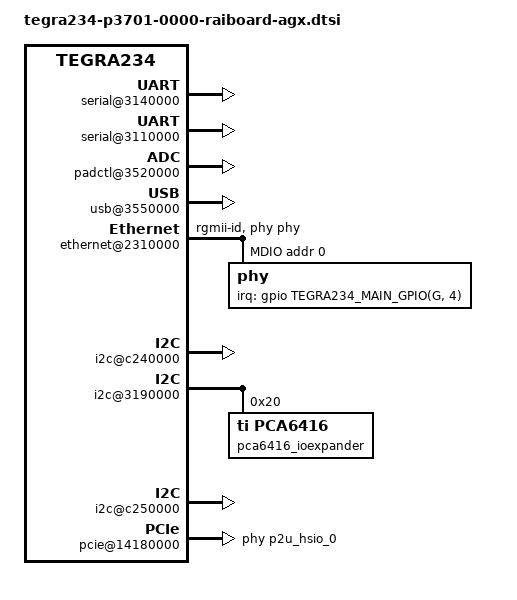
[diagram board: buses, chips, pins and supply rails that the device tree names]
// SPDX-License-Identifier: GPL-2.0

#include <dt-bindings/input/linux-event-codes.h>
#include <dt-bindings/input/gpio-keys.h>

/ {
	aliases {
		serial3 = &uarte; //serial@3140000
	};

	regulator-vdd-3v3-pcie {
		gpio = <&gpio TEGRA234_MAIN_GPIO(H, 4) 0>;
		/delete-property/ regulator-boot-on;
	};
	regulator-vdd-12v-pcie {
		/delete-property/ regulator-boot-on;
		/delete-property/ gpio;
		regulator-always-on;
	};
	regulator@3 {
		regulator-boot-on;
	};

	bus@0 {
		serial@3140000 { //for Serial-CH0 communication
			status = "okay";
			compatible = "nvidia,tegra194-hsuart";
			reset-names = "serial";
			clock-names = "serial";
		};

		serial@3110000 { //for Serial-CH1 communication
			status = "okay";
			reset-names = "serial";
			clock-names = "serial";
		};

		padctl@3520000 {
			status = "okay";

			ports {
				usb2-0 {
					status = "okay";
					vbus-supply = <&vdd_5v0_sys>;
					mode = "otg";
					usb-role-switch;
					/delete-node/ port;
					connector {
						compatible = "usb-b-connector", "gpio-usb-b-connector";
						label = "micro-USB";
						type = "micro";
						vbus-gpios = <&gpio TEGRA234_MAIN_GPIO(Z, 1) GPIO_ACTIVE_LOW>;
					};
				};

				usb2-1 {
					/delete-node/ port;
				};

				usb3-0 {
					nvidia,usb2-companion = <1>;
					status = "okay";
					/delete-node/ port;
				};

				usb3-1 {
					nvidia,usb2-companion = <0>;
					status = "okay";
					/delete-node/ port;
				};

				usb3-2 {
					nvidia,usb2-companion = <2>;
					status = "okay";
				};
			};
		};

		usb@3550000 {
			status = "okay";
			phys = <&{/bus@0/padctl@3520000/pads/usb2/lanes/usb2-0}>,
			       <&{/bus@0/padctl@3520000/pads/usb3/lanes/usb3-1}>;
			phy-names = "usb2-0", "usb3-1";
		};

		//ethernet@6900000 // already disabled
		//ethernet@6a00000 // already disabled
		//ethernet@6b00000 // already disabled

		// 10G configured in tegra234-p3737-0000+p3701-0000.dts <- tegra234-p3737-0000.dtsi

		ethernet@2310000 { //EQOS
			status = "okay";

			nvidia,mac-addr-idx = <0>;
			nvidia,pause_frames = <1>;
			local-mac-address = [1a 2b 3c 4d 5e 6f];
			nvidia,phy-reset-gpio = <&gpio TEGRA234_MAIN_GPIO(G, 5) 0>;
			phy-mode = "rgmii-id";
			phy-handle = <&phy>;
			nvidia,max-platform-mtu = <16383>; //8000

			mdio {
				compatible = "nvidia,eqos-mdio";
				#address-cells = <1>;
				#size-cells = <0>;

				phy: phy@0 {
					reg = <0>;
					nvidia,phy-rst-pdelay-msec = <224>; /* msec */
					nvidia,phy-rst-duration-usec = <10000>; /* usec */
					interrupt-parent = <&gpio>;
					interrupts = <TEGRA234_MAIN_GPIO(G, 4) IRQ_TYPE_LEVEL_LOW>;
					marvell,copper-mode;
					/* Setup LED[2] as interrupt pin (active low) */
					marvell,reg-init = <0x03 0x12 0x7fff 0x880>;
				};
			};
		};

		i2c@c240000 {
			status = "okay";

			/delete-node/ typec@8;
		};

		i2c@3190000 {
			pca6416_ioexpander: ioexpander@20 {
				compatible = "ti,pca6416";
				reg = <0x20>;
				gpio-controller;
				#gpio-cells = <2>;
				gpio-line-names = 
				    "m2b_keyb1.w_disable1#",
				    "m2b_keyb1.w_disable2#",
				    "m2b_keyb1.fullcard_pwroff#",
				    "m2b_keyb1.reset",
				    "m2b_keyb2.w_disable1#",
				    "m2b_keyb2.w_disable2#",
				    "m2b_keyb2.fullcard_pwroff#",
				    "m2b_keyb2.reset",
				    "m2e_wdisable1",
				    "m2e_wdisable2",
				    "m2_keym1_alert#",
				    "m2_keym2_alert#",
				    "keye_alert#",
				    "N/A",
				    "N/A",
				    "N/A";

				ioexpander_outlow {
					gpio-hog;
					gpios = <3 0 7 0 8 0 9 0>;
					output-low;
				};

				ioexpander_outhigh {
					gpio-hog;
					gpios = <0 0 1 0 2 0 4 0 5 0 6 0 10 0 11 0 12 0>;
					output-high;
				};
			};
		};

		i2c@c250000 {
			status = "okay";
			// IMU & Temp Sensor 2536030320001 - 0x6b
			// EEPROM CAT24C04WI-GT3 - 0x56
		};

		pcie@14180000 { // PCIe x1 (C0)
			status = "okay";
			phys = <&p2u_hsio_0>;
			phy-names = "p2u-0";
		};

		pcie@141e0000 { // PCIe x8 (C7)
			status = "disabled";
		};
	};
};
